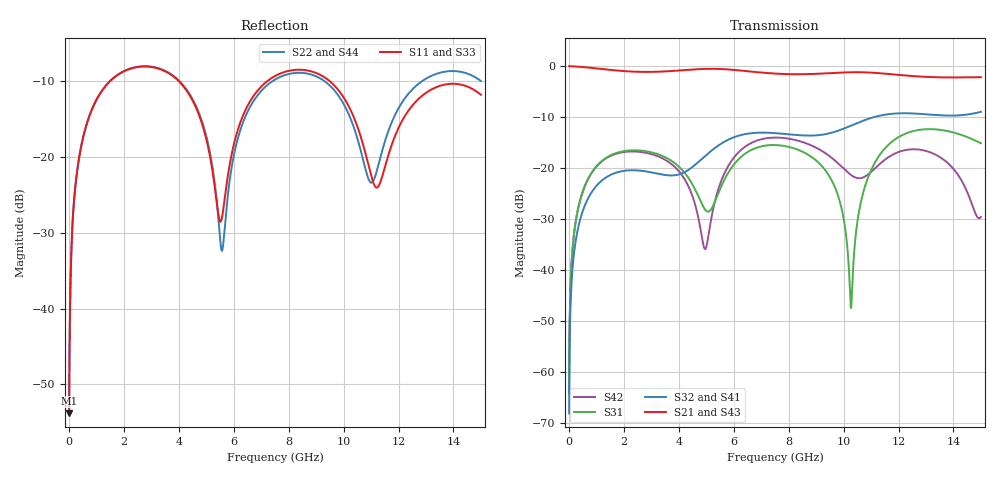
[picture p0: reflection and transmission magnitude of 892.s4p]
! Created with skrf 1.8.0 (http://scikit-rf.org).
# GHz S RI R 50.0
!freq ReS11 ImS11 ReS12 ImS12 ReS13 ImS13
! ReS14 ImS14
! ReS21 ImS21 ReS22 ImS22 ReS23 ImS23
! ReS24 ImS24
! ReS31 ImS31 ReS32 ImS32 ReS33 ImS33
! ReS34 ImS34
! ReS41 ImS41 ReS42 ImS42 ReS43 ImS43
! ReS44 ImS44
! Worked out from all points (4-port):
!   2499 points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, 5 MHz to 15 GHz, reference 50 ohm
!   strongest paths, dB at 5 MHz, 3.476 GHz, 7.19 GHz, 11.1 GHz, 15 GHz:
!     S21: 0.0, -1.0, -1.4, -1.3, -2.2
!     S43: 0.0, -1.0, -1.4, -1.3, -2.2
!     S32: -68.0, -21.3, -13.0, -10.0, -9.0
!     S41: -68.0, -21.3, -13.1, -10.0, -9.0
!     S31: -64.2, -17.8, -15.5, -19.3, -15.1
!     S42: -64.2, -18.3, -14.1, -20.3, -29.5
!   lowest |S11| = -53.8 dB at 5 MHz (marker M1), VSWR 1.00, Z = 50.2 + j0.124 ohm
!   |S11| at or under -10 dB: start of sweep to 1.491 GHz; 4.003 GHz to 7.214 GHz (3.211 GHz wide, 57.3 % of centre); 9.499 GHz to end of sweep
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0.005  0.00162 0.00124  0.9983 -0.00316  8.05e-05 0.000615  -7.83e-05 -0.00039
       0.9983 -0.00316  0.00162 0.00124  -7.83e-05 -0.00039  8.04e-05 0.000615
       8.05e-05 0.000615  -7.83e-05 -0.00039  0.00162 0.00124  0.9983 -0.00316
       -7.83e-05 -0.00039  8.04e-05 0.000615  0.9983 -0.00316  0.00162 0.00124
0.3626511  0.0296 0.0929  0.9592 -0.2262  0.0138 0.0415  -0.0113 -0.0259
           0.9592 -0.2262  0.0297 0.0929  -0.0113 -0.0259  0.0132 0.0417
           0.0138 0.0415  -0.0113 -0.0259  0.0296 0.0929  0.9592 -0.2262
           -0.0113 -0.0259  0.0132 0.0417  0.9592 -0.2262  0.0297 0.0929
1.67  0.29 0.1729  0.5055 -0.7549  0.1311 0.0473  -0.0895 0.000507
      0.5055 -0.7549  0.292 0.1714  -0.0896 0.000518  0.1252 0.0562
      0.1311 0.0473  -0.0896 0.000518  0.29 0.1728  0.5055 -0.755
      -0.0895 0.000507  0.1252 0.0562  0.5055 -0.755  0.292 0.1713
5.389746  0.0385 -0.03  -0.9287 -0.1386  -0.0337 0.0407  -0.0214 0.1619
          -0.9287 -0.1386  0.0259 -0.0421  -0.0214 0.1619  0.0233 0.0514
          -0.0337 0.0407  -0.0214 0.1619  0.0374 -0.0292  -0.9288 -0.1382
          -0.0214 0.1619  0.0233 0.0514  -0.9288 -0.1382  0.0267 -0.041
8.59108  0.372 -0.0476  0.0134 0.8335  0.1309 -0.0529  0.1989 -0.0638
         0.0134 0.8335  0.3565 -0.029  0.1989 -0.0642  0.1325 -0.1175
         0.1309 -0.0529  0.1989 -0.0642  0.3746 -0.0466  0.0133 0.8324
         0.1989 -0.0638  0.1325 -0.1175  0.0133 0.8324  0.3594 -0.0302
10.26678  0.1354 -0.1504  0.7012 0.5157  0.00428 0.000273  0.1487 -0.2145
          0.7012 0.5157  0.1293 -0.1211  0.1485 -0.2145  -0.0668 -0.0542
          0.00428 0.000273  0.1485 -0.2145  0.1372 -0.1537  0.6997 0.5164
          0.1487 -0.2145  -0.0668 -0.0542  0.6997 0.5164  0.1328 -0.1236
15  0.2512 -0.0573  -0.3088 -0.7139  -0.0587 -0.1658  -0.3256 0.1449
    -0.3088 -0.7139  0.2929 -0.1231  -0.3251 0.1462  -0.0254 -0.0216
    -0.0587 -0.1658  -0.3251 0.1462  0.2549 -0.0512  -0.3076 -0.7139
    -0.3256 0.1449  -0.0254 -0.0216  -0.3076 -0.7139  0.2916 -0.1296
